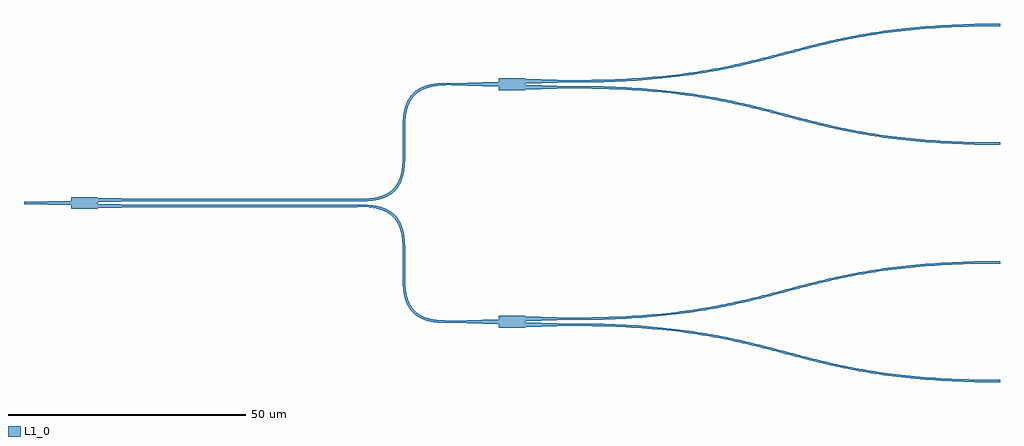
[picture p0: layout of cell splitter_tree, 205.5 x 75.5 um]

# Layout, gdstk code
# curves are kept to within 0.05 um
from math import pi, radians
import gdstk
lib = gdstk.Library(unit=1e-6, precision=1e-09)
def R(c, l, rs):  # rectangles x0, y0, x1, y1
    for r in rs: c.add(gdstk.rectangle(r[:2], r[2:], *l))
def P(c, l, *ps):  # polygons
    for p in ps: c.add(gdstk.Polygon(p, *l))
L1_0 = (1, 0)

mmi1x2 = lib.new_cell('mmi1x2')
R(mmi1x2, L1_0, [(-2.75,-1.25,2.75,1.25)])
P(mmi1x2, L1_0, [(12.75,-0.875),(2.75,-1.125),(2.75,-0.125),(12.75,-0.375)],
  [(12.75,0.375),(2.75,0.125),(2.75,1.125),(12.75,0.875)],
  [(-12.75,0.25),(-2.75,0.5),(-2.75,-0.5),(-12.75,-0.25)])

bend_euler_cross_sectio_ = lib.new_cell('bend_euler_cross_sectio_a3a0edf9')
P(bend_euler_cross_sectio_, L1_0, [(0,-0.25),(2.93,-0.158),(4.865,0.175),(5.829,0.491),(6.664,0.882),(7.404,1.353),(8.073,1.927),(8.647,2.596),(9.118,3.336),(9.509,4.171),(9.825,5.135),(10.158,7.07),(10.25,10),(9.75,10),(9.651,7.025),(9.494,5.933),(9.213,4.826),(8.591,3.419),(7.751,2.313),(7.215,1.837),(6.581,1.409),(5.217,0.801),(4.247,0.542),(2.975,0.349),(0,0.25)])

straight_cross_sectionc_ = lib.new_cell('straight_cross_sectionc_4fc4abd5')
R(straight_cross_sectionc_, L1_0, [(0,-0.25,44.49,0.25)])

c_straight_cross_sectionc_ = lib.new_cell('straight_cross_sectionc_87ce5f1a')
R(c_straight_cross_sectionc_, L1_0, [(0,-0.25,4.375,0.25)])

c_straight_cross_sectionc__ = lib.new_cell('straight_cross_sectionc_aca44847')
R(c_straight_cross_sectionc__, L1_0, [(0,-0.25,0.01,0.25)])

bend_s_cross_sectioncro_ = lib.new_cell('bend_s_cross_sectioncro_eaad795c')
P(bend_s_cross_sectioncro_, L1_0, [(0,0.25),(6.541,0.339),(13.563,0.665),(19.799,1.197),(26.248,2.035),(31.21,2.903),(36.513,4.043),(50.499,7.621),(55.601,8.823),(61.128,9.914),(66.352,10.721),(72.154,11.374),(77.52,11.779),(83.445,12.035),(90,12.125),(90,11.625),(82.229,11.497),(75.346,11.135),(69.229,10.572),(62.892,9.704),(58.005,8.817),(53.487,7.832),(39.501,4.254),(34.399,3.052),(28.872,1.961),(23.648,1.154),(16.814,0.409),(8.997,-0.077),(0,-0.25)])

splitter_tree = lib.new_cell('splitter_tree')
splitter_tree.add(gdstk.Reference(mmi1x2, (0,0)))
splitter_tree.add(gdstk.Reference(mmi1x2, (90,-25)))
splitter_tree.add(gdstk.Reference(bend_euler_cross_sectio_, (57.24,-0.625), x_reflection=True))
splitter_tree.add(gdstk.Reference(bend_euler_cross_sectio_, (67.24,-15), rotation=3*pi/2))
splitter_tree.add(gdstk.Reference(straight_cross_sectionc_, (12.75,-0.625)))
splitter_tree.add(gdstk.Reference(c_straight_cross_sectionc_, (67.24,-10.625), rotation=3*pi/2))
splitter_tree.add(gdstk.Reference(c_straight_cross_sectionc__, (77.24,-25)))
splitter_tree.add(gdstk.Reference(bend_s_cross_sectioncro_, (102.75,-24.375)))
splitter_tree.add(gdstk.Reference(bend_s_cross_sectioncro_, (102.75,-25.625), x_reflection=True))
splitter_tree.add(gdstk.Reference(mmi1x2, (90,25)))
splitter_tree.add(gdstk.Reference(bend_euler_cross_sectio_, (57.24,0.625)))
splitter_tree.add(gdstk.Reference(bend_euler_cross_sectio_, (67.24,15), rotation=pi/2, x_reflection=True))
splitter_tree.add(gdstk.Reference(straight_cross_sectionc_, (12.75,0.625)))
splitter_tree.add(gdstk.Reference(c_straight_cross_sectionc_, (67.24,10.625), rotation=pi/2))
splitter_tree.add(gdstk.Reference(c_straight_cross_sectionc__, (77.24,25)))
splitter_tree.add(gdstk.Reference(bend_s_cross_sectioncro_, (102.75,25.625)))
splitter_tree.add(gdstk.Reference(bend_s_cross_sectioncro_, (102.75,24.375), x_reflection=True))

lib.write_gds('splitter_tree.gds')
